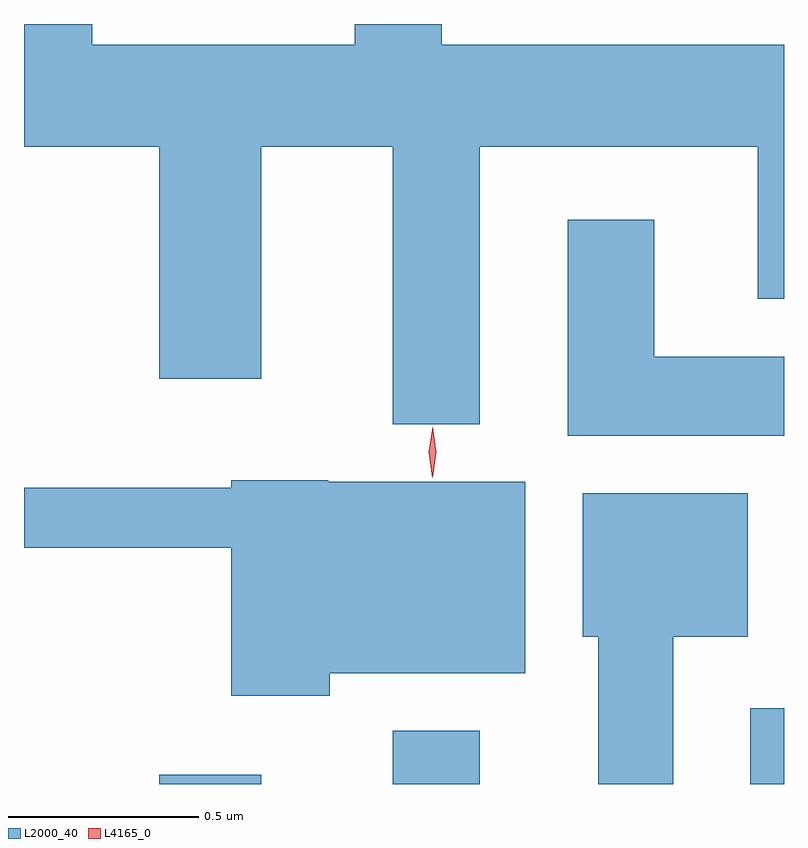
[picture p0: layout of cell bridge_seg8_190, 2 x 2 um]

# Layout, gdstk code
import gdstk
lib = gdstk.Library(unit=1e-6, precision=1e-09)
def R(c, l, rs):  # rectangles x0, y0, x1, y1
    for r in rs: c.add(gdstk.rectangle(r[:2], r[2:], *l))
def P(c, l, *ps):  # polygons
    for p in ps: c.add(gdstk.Polygon(p, *l))
L2000_40 = (2000, 40)
L4165_0 = (4165, 0)

bridge_seg8_190 = lib.new_cell('bridge_seg8_190')
R(bridge_seg8_190, L2000_40, [(1134.156,1930.199,1134.424,1930.224), (1134.771,1930.199,1134.999,1930.339), (1135.711,1930.199,1135.8,1930.399)])
P(bridge_seg8_190, L2000_40, [(1134.999,1931.876),(1135.731,1931.876),(1135.731,1931.476),(1135.8,1931.476),(1135.8,1932.144),(1134.899,1932.144),(1134.899,1932.199),(1134.671,1932.199),(1134.671,1932.144),(1133.979,1932.144),(1133.979,1932.199),(1133.8,1932.199),(1133.8,1931.876),(1134.156,1931.876),(1134.156,1931.266),(1134.424,1931.266),(1134.424,1931.876),(1134.771,1931.876),(1134.771,1931.146),(1134.999,1931.146)],
  [(1135.8,1931.324),(1135.459,1931.324),(1135.459,1931.684),(1135.231,1931.684),(1135.231,1931.116),(1135.8,1931.116)],
  [(1134.604,1930.491),(1135.119,1930.491),(1135.119,1930.994),(1134.6,1930.994),(1134.6,1930.999),(1134.346,1930.999),(1134.346,1930.979),(1133.8,1930.979),(1133.8,1930.821),(1134.346,1930.821),(1134.346,1930.431),(1134.604,1930.431)],
  [(1135.509,1930.586),(1135.704,1930.586),(1135.704,1930.964),(1135.271,1930.964),(1135.271,1930.586),(1135.311,1930.586),(1135.311,1930.199),(1135.509,1930.199)])
P(bridge_seg8_190, L4165_0, [(1134.874,1931.006),(1134.874,1931.006),(1134.865,1931.073),(1134.876,1931.139),(1134.876,1931.139),(1134.876,1931.139),(1134.885,1931.072),(1134.875,1931.006)])

lib.write_gds('bridge_seg8_190.gds')
